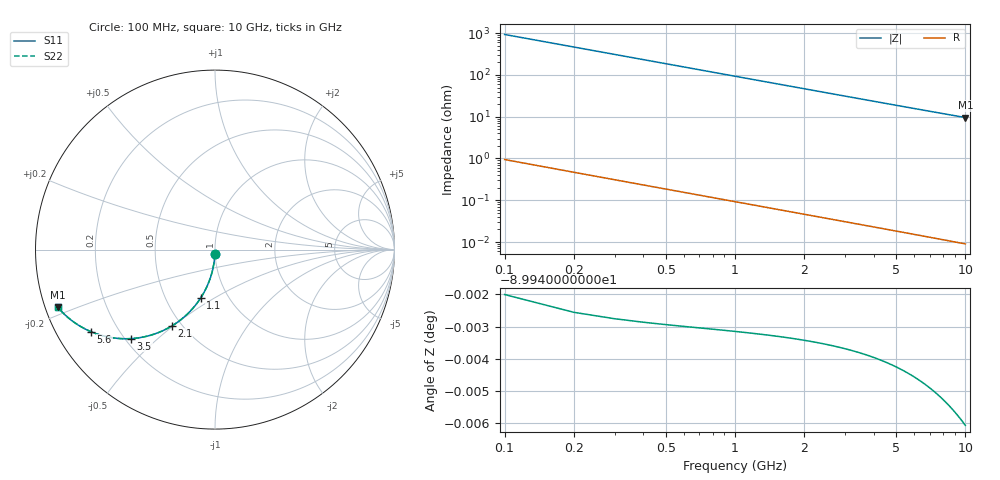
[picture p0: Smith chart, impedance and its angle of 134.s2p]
# Hz S RI R 50.00
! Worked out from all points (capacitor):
!   100 points, 100 MHz to 10 GHz, reference 50 ohm
!   read as one part in shunt: C = 1.71 pF near 100 MHz
!   lowest |Z| = 9.57 ohm at 10 GHz (marker M1)
!   S11 on the Smith chart (normalised r, x): 100 MHz: 1.00, -0.05; 1.1 GHz: 0.74, -0.44; 2.1 GHz: 0.44, -0.49; 3.5 GHz: 0.22, -0.41; 5.6 GHz: 0.10, -0.30; 10 GHz: 0.04, -0.18
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1e8  -0.000726 -0.0267  0.9992 -0.0269  0.9992 -0.0269  -0.000726 -0.0267
2e8  -0.0029 -0.0533  0.9971 -0.0536  0.9971 -0.0536  -0.0029 -0.0533
3e8  -0.00649 -0.0797  0.9935 -0.0801  0.9935 -0.0801  -0.00649 -0.0797
4e8  -0.0115 -0.1057  0.9885 -0.1063  0.9885 -0.1063  -0.0115 -0.1057
5e8  -0.0178 -0.1313  0.9822 -0.132  0.9822 -0.132  -0.0178 -0.1313
6e8  -0.0253 -0.1563  0.9746 -0.1572  0.9746 -0.1572  -0.0253 -0.1563
7e8  -0.0342 -0.1807  0.9658 -0.1817  0.9658 -0.1817  -0.0342 -0.1807
9e8  -0.0552 -0.2272  0.9448 -0.2285  0.9448 -0.2285  -0.0552 -0.2272
1.1e9  -0.0801 -0.2702  0.9198 -0.2719  0.9198 -0.2719  -0.0801 -0.2702
1.4e9  -0.1235 -0.3275  0.8764 -0.3296  0.8764 -0.3296  -0.1235 -0.3275
1.8e9  -0.1887 -0.3895  0.8112 -0.3922  0.8112 -0.3922  -0.1887 -0.3895
2.1e9  -0.2403 -0.4252  0.7596 -0.4284  0.7596 -0.4284  -0.2403 -0.4252
2.7e9  -0.343 -0.4722  0.6569 -0.4762  0.6569 -0.4762  -0.343 -0.4722
3.4e9  -0.4525 -0.4947  0.5475 -0.4998  0.5475 -0.4998  -0.4525 -0.4947
3.5e9  -0.4668 -0.4958  0.5332 -0.501  0.5332 -0.501  -0.4668 -0.4958
4.3e9  -0.5688 -0.4915  0.4312 -0.498  0.4312 -0.498  -0.5688 -0.4915
5.1e9  -0.6494 -0.4728  0.3505 -0.4805  0.3505 -0.4805  -0.6494 -0.4728
5.6e9  -0.6905 -0.4575  0.3094 -0.466  0.3094 -0.466  -0.6905 -0.4575
6.7e9  -0.7613 -0.4207  0.2386 -0.4309  0.2386 -0.4309  -0.7613 -0.4207
7.5e9  -0.7997 -0.3939  0.2002 -0.4054  0.2002 -0.4054  -0.7997 -0.3939
8.4e9  -0.8335 -0.3655  0.1664 -0.3784  0.1664 -0.3784  -0.8335 -0.3655
1e10  -0.8764 -0.3207  0.1234 -0.3362  0.1234 -0.3362  -0.8764 -0.3207
